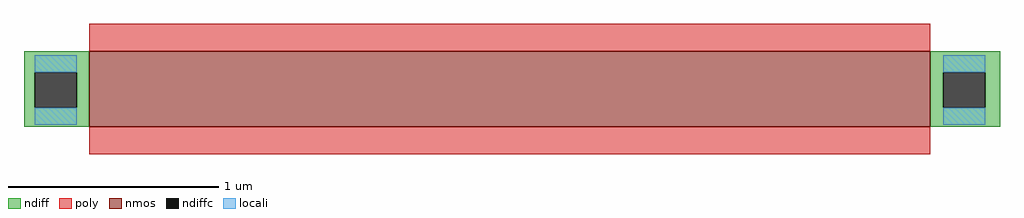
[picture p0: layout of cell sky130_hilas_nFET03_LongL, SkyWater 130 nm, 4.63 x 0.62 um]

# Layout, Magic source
magic
tech sky130A
<< nmos >>
rect 31 13 430 49
<< ndiff >>
rect 0 39 31 49
rect 0 22 5 39
rect 25 22 31 39
rect 0 13 31 22
rect 430 39 463 49
rect 430 22 436 39
rect 456 22 463 39
rect 430 13 463 22
<< ndiffc >>
rect 5 22 25 39
rect 436 22 456 39
<< poly >>
rect 31 49 430 62
rect 31 0 430 13
<< locali >>
rect 5 39 25 47
rect 5 14 25 22
rect 436 39 456 47
rect 436 14 456 22
<< properties >>
string LEFsite unithd
string LEFclass CORE
string LEFsymmetry X Y R90
<< end >>
